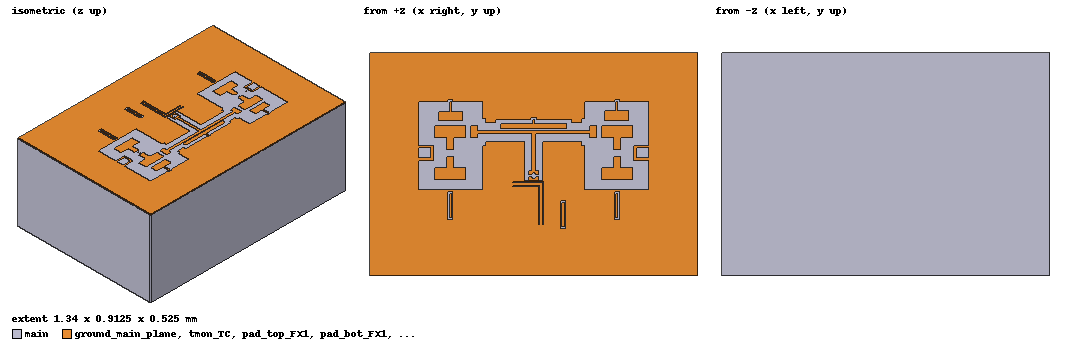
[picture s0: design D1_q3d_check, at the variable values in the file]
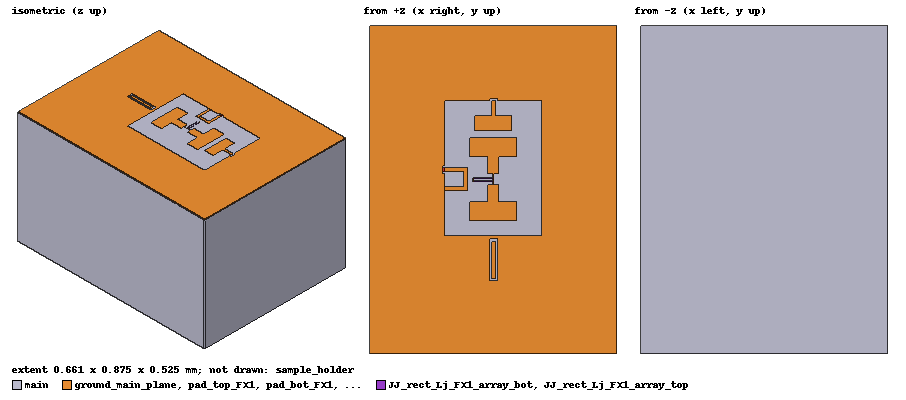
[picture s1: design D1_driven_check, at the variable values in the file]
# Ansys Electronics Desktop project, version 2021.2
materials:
  vacuum: permittivity=1
  copper: permeability=0.999991 conductivity=58000000
  silicon: permittivity=11.9
  pec: conductivity=1e+30

design D1_q3d_check (Q3D Extractor, model units mm)
options: SParamCalcMethod=EqTransLine Calculate_Lossy_Dielectrics
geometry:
  pad_top_FX1 [copper] = polyline(z=0, xy: (-0.0004025, -0.00069) (-0.0002775, -0.00069) (-0.0002775, -0.00074) (-0.000325, -0.00074) (-0.000325, -0.000785) (-0.000339, -0.000785) (-0.000339, -0.000799) (-0.000341, -0.000799) (-0.000341, -0.000785) (-0.000355, -0.000785) (-0.000355, -0.00074) (-0.0004025, -0.00074) (-0.0004025, -0.00069), closed, covered)
  pad_bot_FX1 [copper] = polyline(z=0, xy: (-0.0002775, -0.00091) (-0.0004025, -0.00091) (-0.0004025, -0.00086) (-0.000355, -0.00086) (-0.000355, -0.000815) (-0.000341, -0.000815) (-0.000341, -0.000801) (-0.000339, -0.000801) (-0.000339, -0.000815) (-0.000325, -0.000815) (-0.000325, -0.00086) (-0.0002775, -0.00086) (-0.0002775, -0.00091), closed, covered)
  array_end_FX1 [copper] = rectangle(corner=(-0.000394, -0.000805, 0), x_size=2e-06, y_size=1e-05)
  rect_pk_0_FX1 = polyline(z=0, xy: (-0.00047, -0.00059) (-0.00021, -0.00059) (-0.00021, -0.00095) (-0.00047, -0.00095) (-0.00047, -0.00083) (-0.000419, -0.00083) (-0.000409, -0.00083) (-0.000409, -0.00082) (-0.000409, -0.00078) (-0.000409, -0.00077) (-0.000419, -0.00077) (-0.00047, -0.00077) (-0.00047, -0.00059), closed, covered)
  rect_pk_1_FX1 = rectangle(corner=(-0.00047, -0.00082, 0), x_size=5.1e-05, y_size=4e-05)
  readout_line_FX1 [copper] = polyline(z=0, xy: (-0.00029, -0.00063025) (-0.00029, -0.00067025) (-0.00039, -0.00067025) (-0.00039, -0.00063025) (-0.000345, -0.00063025) (-0.000345, -0.00059) (-0.000335, -0.00059) (-0.000335, -0.00063025) (-0.00029, -0.00063025), closed, covered)
  charge_line_FX1 [copper] = rectangle(corner=(-0.000345, -0.001065, 0), x_size=1e-05, y_size=0.0001)
  charge_line_gap_FX1 = rectangle(corner=(-0.000351, -0.001065, 0), x_size=2.2e-05, y_size=0.000106)
  pad_top_FX2 [copper] = polyline(z=0, xy: (0.0004025, -0.00069) (0.0002775, -0.00069) (0.0002775, -0.00074) (0.000325, -0.00074) (0.000325, -0.000785) (0.000339, -0.000785) (0.000339, -0.000799) (0.000341, -0.000799) (0.000341, -0.000785) (0.000355, -0.000785) (0.000355, -0.00074) (0.0004025, -0.00074) (0.0004025, -0.00069), closed, covered)
  pad_bot_FX2 [copper] = polyline(z=0, xy: (0.0002775, -0.00091) (0.0004025, -0.00091) (0.0004025, -0.00086) (0.000355, -0.00086) (0.000355, -0.000815) (0.000341, -0.000815) (0.000341, -0.000801) (0.000339, -0.000801) (0.000339, -0.000815) (0.000325, -0.000815) (0.000325, -0.00086) (0.0002775, -0.00086) (0.0002775, -0.00091), closed, covered)
  array_end_FX2 [copper] = rectangle(corner=(0.000392, -0.000805, 0), x_size=2e-06, y_size=1e-05)
  rect_pk_0_FX2 = polyline(z=0, xy: (0.00047, -0.00059) (0.00021, -0.00059) (0.00021, -0.00095) (0.00047, -0.00095) (0.00047, -0.00083) (0.000419, -0.00083) (0.000409, -0.00083) (0.000409, -0.00082) (0.000409, -0.00078) (0.000409, -0.00077) (0.000419, -0.00077) (0.00047, -0.00077) (0.00047, -0.00059), closed, covered)
  rect_pk_1_FX2 = rectangle(corner=(0.000419, -0.00082, 0), x_size=5.1e-05, y_size=4e-05)
  readout_line_FX2 [copper] = polyline(z=0, xy: (0.00029, -0.0006288) (0.00029, -0.0006688) (0.00039, -0.0006688) (0.00039, -0.0006288) (0.000345, -0.0006288) (0.000345, -0.00059) (0.000335, -0.00059) (0.000335, -0.0006288) (0.00029, -0.0006288), closed, covered)
  charge_line_FX2 [copper] = rectangle(corner=(0.000335, -0.001065, 0), x_size=1e-05, y_size=0.0001)
  charge_line_gap_FX2 = rectangle(corner=(0.000329, -0.001065, 0), x_size=2.2e-05, y_size=0.000106)
  tmon_TC [copper] = polyline(z=0, xy: (-0.0002575, -0.00069) (-0.0002575, -0.00074) (-0.0002275, -0.00074) (-0.0002275, -0.0007225) (-7.5e-06, -0.0007225) (-7.5e-06, -0.000873) (-2e-05, -0.000873) (-2e-05, -0.0008905) (-8e-06, -0.0008905) (-8e-06, -0.000887) (0, -0.000881) (8e-06, -0.000887) (8e-06, -0.0008905) (2e-05, -0.0008905) (2e-05, -0.000873) (7.5e-06, -0.000873) (7.5e-06, -0.0007225) (0.0002275, -0.0007225) (0.0002275, -0.00074) (0.0002575, -0.00074) (0.0002575, -0.00069) (0.0002275, -0.00069) (0.0002275, -0.0007075) (-0.0002275, -0.0007075) (-0.0002275, -0.00069) (-0.0002575, -0.00069), closed, covered)
  squid_ground_TC [copper] = polyline(z=0, xy: (2e-05, -0.000913) (2e-05, -0.0008955) (8e-06, -0.0008955) (8e-06, -0.000899) (0, -0.000905) (-8e-06, -0.000899) (-8e-06, -0.0008955) (-2e-05, -0.0008955) (-2e-05, -0.000913) (2e-05, -0.000913), closed, covered)
  pad_etch_TC = polyline(z=0, xy: (-0.0002875, -0.00066) (-0.0002875, -0.00077) (-0.0001975, -0.00077) (-0.0001975, -0.0007525) (-3.75e-05, -0.0007525) (-3.75e-05, -0.000913) (3.75e-05, -0.000913) (3.75e-05, -0.0007525) (0.0001975, -0.0007525) (0.0001975, -0.00077) (0.0002875, -0.00077) (0.0002875, -0.00066) (0.0001975, -0.00066) (0.0001975, -0.0006775) (3.75e-05, -0.0006775) (3.75e-05, -0.000675) (-3.75e-05, -0.000675) (-3.75e-05, -0.0006775) (-0.0001975, -0.0006775) (-0.0001975, -0.00066) (-0.0002875, -0.00066), closed, covered)
  flux_bias_line_gap_0_TC = polyline(z=0, xy: (-8.5e-05, -0.000923) (-8.5e-05, -0.000917) (3.5e-05, -0.000917) (4.1e-05, -0.000917) (4.1e-05, -0.000923) (4.1e-05, -0.001093) (3.5e-05, -0.001093) (3.5e-05, -0.000933) (3.5e-05, -0.000923) (2.5e-05, -0.000923) (-8.5e-05, -0.000923), closed, covered)
  flux_bias_line_gap_1_TC = polyline(z=0, xy: (1.9e-05, -0.001093) (1.9e-05, -0.000939) (-8.5e-05, -0.000939) (-8.5e-05, -0.000933) (1.9e-05, -0.000933) (2.5e-05, -0.000933) (2.5e-05, -0.000939) (2.5e-05, -0.001093) (1.9e-05, -0.001093), closed, covered)
  charge_line_TC [copper] = rectangle(corner=(0.000115, -0.0011025, 0), x_size=1e-05, y_size=0.0001)
  charge_line_gap_TC = rectangle(corner=(0.000109, -0.0011025, 0), x_size=2.2e-05, y_size=0.000106)
  readout_line_TC [copper] = polyline(z=0, xy: (-0.0001365, -0.0006825) (-0.0001365, -0.0007025) (0.0001365, -0.0007025) (0.0001365, -0.0006825) (5e-06, -0.0006825) (5e-06, -0.0006625) (-5e-06, -0.0006625) (-5e-06, -0.0006825) (-0.0001365, -0.0006825), closed, covered)
  readout_window_TC = rectangle(corner=(-0.0001565, -0.000715, 0), x_size=0.000313, y_size=5.25e-05)
  endcap_FX1_readout_line = rectangle(corner=(-0.000351, -0.00059, 0), x_size=2.2e-05, y_size=6e-06)
  endcap_FX1_charge_line = rectangle(corner=(-0.000351, -0.001071, 0), x_size=2.2e-05, y_size=6e-06)
  endcap_FX2_readout_line = rectangle(corner=(0.000329, -0.00059, 0), x_size=2.2e-05, y_size=6e-06)
  endcap_FX2_charge_line = rectangle(corner=(0.000329, -0.001071, 0), x_size=2.2e-05, y_size=6e-06)
  endcap_TC_readout_line = rectangle(corner=(-1.1e-05, -0.0006625, 0), x_size=2.2e-05, y_size=6e-06)
  endcap_TC_charge_line = rectangle(corner=(0.000109, -0.0011085, 0), x_size=2.2e-05, y_size=6e-06)
  ground_main_plane [copper] = rectangle(corner=(-0.00067, -0.0013025, 0), x_size=0.00134, y_size=0.0009125)
  main [silicon] = box(corner=(-0.00067, -0.0013025, -0.000525), size=(0.00134, 0.0009125, 0.000525))
  ground_main_plane.subtract(flux_bias_line_gap_1_TC, charge_line_gap_TC, endcap_TC_charge_line, rect_pk_1_FX2, pad_etch_TC, endcap_FX2_charge_line, rect_pk_0_FX1, endcap_TC_readout_line, endcap_FX1_readout_line, rect_pk_1_FX1, endcap_FX2_readout_line, endcap_FX1_charge_line, readout_window_TC, flux_bias_line_gap_0_TC, rect_pk_0_FX2, charge_line_gap_FX1, charge_line_gap_FX2)
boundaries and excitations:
  ThinCond1: ThinConductor Objects=[pad_top_FX1, pad_bot_FX1, array_end_FX1, readout_line_FX1, charge_line_FX1, pad_top_FX2, pad_bot_FX2, array_end_FX2, readout_line_FX2, charge_line_FX2, tmon_TC, squid_ground_TC, charge_line_TC, readout_line_TC, ground_main_plane] Material=pec Thickness=200nm
  pad_top_FX1: SignalNet Objects=pad_top_FX1
  pad_bot_FX1: SignalNet Objects=pad_bot_FX1
  array_end_FX1: SignalNet Objects=array_end_FX1
  readout_line_FX1: SignalNet Objects=readout_line_FX1
  charge_line_FX1: SignalNet Objects=charge_line_FX1
  pad_top_FX2: SignalNet Objects=pad_top_FX2
  pad_bot_FX2: SignalNet Objects=pad_bot_FX2
  array_end_FX2: SignalNet Objects=array_end_FX2
  readout_line_FX2: SignalNet Objects=readout_line_FX2
  charge_line_FX2: SignalNet Objects=charge_line_FX2
  tmon_TC: SignalNet Objects=tmon_TC
  ground_main_plane: SignalNet Objects=[squid_ground_TC, ground_main_plane]
  charge_line_TC: SignalNet Objects=charge_line_TC
  readout_line_TC: SignalNet Objects=readout_line_TC
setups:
  Setup: Matrix AdaptiveFreq=5GHz Cap{MaxPass=15 MinPass=2 MinConvPass=2 PerError=0.5 PerRefine=30 AutoIncreaseSolutionOrder SolutionOrder=High Solver_Type=Iterative}
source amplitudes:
  array_end_FX1, array_end_FX2, charge_line_FX1, charge_line_FX2, charge_line_TC, ground_main_plane, pad_bot_FX1, pad_bot_FX2, pad_top_FX2, readout_line_FX1, readout_line_FX2, readout_line_TC, tmon_TC: Cap 0V 0deg
  pad_top_FX1: Cap 1V 0deg

design D1_driven_check (HFSS, DrivenModal, model units mm)
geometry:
  pad_top_FX1 = polyline(z=0, xy: (-6.25e-05, 0.00011) (6.25e-05, 0.00011) (6.25e-05, 6e-05) (1.5e-05, 6e-05) (1.5e-05, 1.5e-05) (1e-06, 1.5e-05) (1e-06, 1e-06) (-1e-06, 1e-06) (-1e-06, 1.5e-05) (-1.5e-05, 1.5e-05) (-1.5e-05, 6e-05) (-6.25e-05, 6e-05) (-6.25e-05, 0.00011), closed, covered)
  pad_bot_FX1 = polyline(z=0, xy: (6.25e-05, -0.00011) (-6.25e-05, -0.00011) (-6.25e-05, -6e-05) (-1.5e-05, -6e-05) (-1.5e-05, -1.5e-05) (-1e-06, -1.5e-05) (-1e-06, -1e-06) (1e-06, -1e-06) (1e-06, -1.5e-05) (1.5e-05, -1.5e-05) (1.5e-05, -6e-05) (6.25e-05, -6e-05) (6.25e-05, -0.00011), closed, covered)
  array_end_FX1 = rectangle(corner=(-5.4e-05, -5e-06, 0), x_size=2e-06, y_size=1e-05)
  rect_pk_FX1 = rectangle(corner=(-0.00013, -0.00015, 0), x_size=0.00026, y_size=0.00036)
  flux_line_FX1 = polyline(z=0, xy: (-0.000131, -3e-05) (-0.000131, -2e-05) (-7.9e-05, -2e-05) (-7.9e-05, 2e-05) (-0.00013, 2e-05) (-0.00013, 3e-05) (-7.9e-05, 3e-05) (-6.9e-05, 3e-05) (-6.9e-05, 2e-05) (-6.9e-05, -2e-05) (-6.9e-05, -3e-05) (-7.9e-05, -3e-05) (-0.000131, -3e-05), closed, covered)
  readout_line_FX1 = polyline(z=0, xy: (5e-05, 0.00016975) (5e-05, 0.00012975) (-5e-05, 0.00012975) (-5e-05, 0.00016975) (-5e-06, 0.00016975) (-5e-06, 0.00021) (5e-06, 0.00021) (5e-06, 0.00016975) (5e-05, 0.00016975), closed, covered)
  charge_line_FX1 = rectangle(corner=(-5e-06, -0.000265, 0), x_size=1e-05, y_size=0.0001)
  charge_line_gap_FX1 = rectangle(corner=(-1.1e-05, -0.000265, 0), x_size=2.2e-05, y_size=0.000106)
  Port_FX1_rect_jj = rectangle(corner=(-1e-06, -1e-06, 0), x_size=2e-06, y_size=2e-06)
  voltage_line_Port_FX1_rect_jj = polyline((0, -1e-06, 0) (0, 1e-06, 0))
  JJ_rect_Lj_FX1_array_top = rectangle(corner=(-5.2e-05, 3e-06, 0), x_size=5.1e-05, y_size=2e-06)
  JJ_Lj_FX1_array_top_ = polyline((-5.2e-05, 4e-06, 0) (-1e-06, 4e-06, 0))
  JJ_rect_Lj_FX1_array_bot = rectangle(corner=(-5.2e-05, -5e-06, 0), x_size=5.1e-05, y_size=2e-06)
  JJ_Lj_FX1_array_bot_ = polyline((-5.2e-05, -4e-06, 0) (-1e-06, -4e-06, 0))
  endcap_FX1_readout_line = rectangle(corner=(-1.1e-05, 0.00021, 0), x_size=2.2e-05, y_size=6e-06)
  endcap_FX1_charge_line = rectangle(corner=(-1.1e-05, -0.000271, 0), x_size=2.2e-05, y_size=6e-06)
  endcap_FX1_flux_line = rectangle(corner=(-0.000136, 1.4e-05, 0), x_size=6e-06, y_size=2.2e-05)
  ground_main_plane = rectangle(corner=(-0.000331, -0.000465, 0), x_size=0.000661, y_size=0.000875)
  main [silicon] = box(corner=(-0.000331, -0.000465, -0.000525), size=(0.000661, 0.000875, 0.000525))
  sample_holder [vacuum] = box(corner=(-0.000331, -0.000465, -0.00165), size=(0.000661, 0.000875, 0.00254))
  ground_main_plane.subtract(endcap_FX1_flux_line, rect_pk_FX1, endcap_FX1_readout_line, endcap_FX1_charge_line, charge_line_gap_FX1)
  Port_FX1_flux_line = rectangle(corner=(-0.000136, 2e-05, 0), x_size=6e-06, y_size=1e-05)
  voltage_line_Port_FX1_flux_line = polyline((-0.00013, 2.5e-05, 0) (-0.000136, 2.5e-05, 0))
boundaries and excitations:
  Lj_Lj_FX1_array_top: Lumped RLC Objects=JJ_rect_Lj_FX1_array_top CurrentLine{middle of JJ_rect_Lj_FX1_array_top.edge(x at corner) -> middle of JJ_rect_Lj_FX1_array_top.edge(x opposite corner)} RLC_Type=Parallel Inductance=100nH
  Lj_Lj_FX1_array_bot: Lumped RLC Objects=JJ_rect_Lj_FX1_array_bot CurrentLine{middle of JJ_rect_Lj_FX1_array_bot.edge(x at corner) -> middle of JJ_rect_Lj_FX1_array_bot.edge(x opposite corner)} RLC_Type=Parallel Inductance=100nH
  PerfE: Perfect E Objects=[pad_top_FX1, pad_bot_FX1, array_end_FX1, flux_line_FX1, readout_line_FX1, charge_line_FX1, ground_main_plane]
  LumpPort_FX1_rect_jj: Lumped Port Objects=Port_FX1_rect_jj Modes{Mode1{IntLine{middle of Port_FX1_rect_jj.edge(y at corner) -> middle of Port_FX1_rect_jj.edge(y opposite corner)} CharImp=Zpi RenormImp=50ohm}} Impedance=50ohm
  LumpPort_FX1_flux_line: Lumped Port Objects=Port_FX1_flux_line Modes{Mode1{IntLine{middle of Port_FX1_flux_line.edge(x at corner) -> middle of Port_FX1_flux_line.edge(x opposite corner)} CharImp=Zpi RenormImp=50ohm}} Impedance=50ohm
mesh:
  small_mesh: LengthBased Objects=[JJ_rect_Lj_FX1_array_top, JJ_rect_Lj_FX1_array_bot] MaxLength=7um
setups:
  Setup: HfssDriven Frequency=1GHz MaxDeltaS=0.02 MaximumPasses=10 MinimumPasses=1 MinimumConvergedPasses=1 PercentRefinement=30 BasisOrder=-1 PortAccuracy=2
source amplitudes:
  LumpPort_FX1_rect_jj:1: 1W 0deg
  LumpPort_FX1_flux_line:1: 0W 0deg
